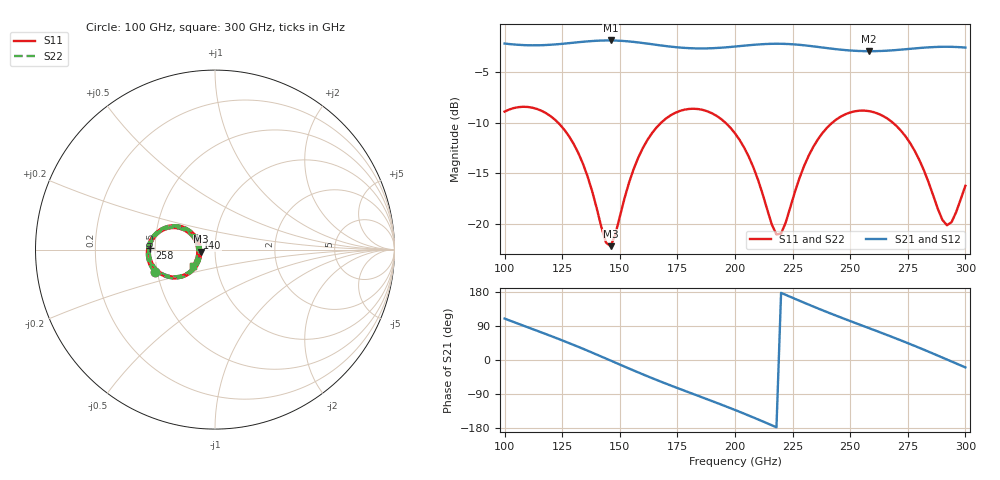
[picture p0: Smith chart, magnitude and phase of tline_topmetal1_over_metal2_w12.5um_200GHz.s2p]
#  GHZ S DB R 50
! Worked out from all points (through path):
!   101 points, 100 GHz to 300 GHz, reference 50 ohm
!   highest |S21| = -1.83 dB at 146 GHz (marker M1); lowest = -2.9 dB at 258 GHz (marker M2)
!   group delay of S21, straight-line fit = 6.8 ps
!   lowest |S11| = -22.2 dB at 146 GHz (marker M3), VSWR 1.17, Z = 42.9 - j1.03 ohm
!   |S11| at or under -10 dB: 123.3 GHz to 167.8 GHz (44.53 GHz wide, 30.6 % of centre); 196 GHz to 242.1 GHz (46.11 GHz wide, 21.1 % of centre); 268.6 GHz to end of sweep
!   |S22| runs from -22.2 to -8.4 dB; largest |S21 - S12| = 9.3e-14
!   S11 on the Smith chart (normalised r, x): 100 GHz: 0.48, -0.14; 140 GHz: 0.81, +0.11; 258 GHz: 0.47, +0.01; 300 GHz: 0.77, -0.14
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100  -8.88 -159.3  -2.14 109.4  -2.14 109.4  -8.87 -159.4
108  -8.40 -174.5  -2.29 91.0  -2.29 91.0  -8.40 -174.6
118  -9.03 167.0  -2.28 68.2  -2.28 68.2  -9.03 166.9
126  -10.69 153.1  -2.14 49.4  -2.14 49.4  -10.69 153.0
134  -14.03 142.9  -1.96 29.7  -1.96 29.7  -14.03 142.9
140  -18.47 146.4  -1.86 14.3  -1.86 14.3  -18.46 146.4
144  -21.84 169.1  -1.83 3.8  -1.83 3.8  -21.84 169.0
146  -22.20 -171.1  -1.83 -1.5  -1.83 -1.5  -22.20 -171.2
158  -13.44 -137.3  -2.03 -32.8  -2.03 -32.8  -13.44 -137.4
168  -9.96 -151.8  -2.33 -57.5  -2.33 -57.5  -9.96 -151.8
184  -8.62 179.7  -2.62 -94.6  -2.62 -94.6  -8.62 179.8
200  -11.03 153.0  -2.44 -131.9  -2.44 -131.9  -11.01 153.1
210  -15.63 145.1  -2.23 -156.8  -2.23 -156.8  -15.60 145.3
218  -21.04 175.7  -2.16 -177.5  -2.16 -177.5  -20.90 175.7
222  -19.87 -154.1  -2.18 172.0  -2.18 172.0  -19.76 -154.7
234  -12.36 -142.7  -2.42 141.1  -2.42 141.1  -12.35 -143.2
246  -9.36 -160.7  -2.75 112.1  -2.75 112.1  -9.36 -161.1
258  -8.82 178.9  -2.90 84.5  -2.90 84.5  -8.82 178.5
268  -9.88 162.4  -2.81 61.3  -2.81 61.3  -9.88 162.0
282  -14.69 147.9  -2.55 27.1  -2.55 27.1  -14.71 147.4
292  -20.13 -179.1  -2.46 1.3  -2.46 1.3  -20.21 -179.5
300  -16.22 -144.0  -2.53 -19.5  -2.53 -19.5  -16.26 -144.1
